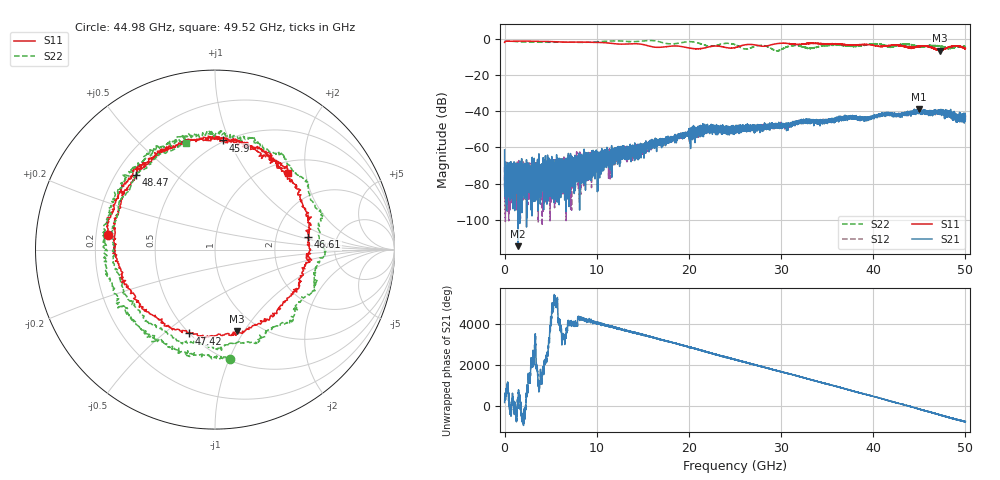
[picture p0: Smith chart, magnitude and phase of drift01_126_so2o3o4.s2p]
!Created with skrf (http://scikit-rf.org).
# Hz S RI R 50.0
!freq ReS11 ImS11 ReS21 ImS21 ReS12 ImS12 ReS22 ImS22
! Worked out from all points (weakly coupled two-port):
!   10001 points, 300 kHz to 50 GHz, reference 50 ohm
!   highest |S21| = -38.73 dB at 44.93 GHz (marker M1); lowest = -114.4 dB at 1.455 GHz (marker M2)
!   lowest |S11| = -6.6 dB at 47.2 GHz (marker M3), VSWR 2.77, Z = 39.9 - j46.4 ohm
!   |S11| at or under -10 dB: nowhere
!   |S22| runs from -6.8 to -1.0 dB; largest |S21 - S12| = 0.0037
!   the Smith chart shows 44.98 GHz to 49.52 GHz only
!   S11 on the Smith chart (normalised r, x): 44.98 GHz: 0.25, +0.06; 45.9 GHz: 0.49, +0.95; 46.61 GHz: 3.08, +0.59; 47.42 GHz: 0.50, -0.61; 48.47 GHz: 0.28, +0.37; 49.52 GHz: 1.22, +1.59
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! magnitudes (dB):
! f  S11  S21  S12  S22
! 300 kHz  -2.1  -61.4  -70.7  -1.3
! 255.3 MHz  -1.4  -75.5  -88.9  -1.4
! 1.455 GHz  -1.4  -114.4  -76.5  -1.7
! 5.205 GHz  -1.7  -68.4  -67.9  -2.1
! 8.335 GHz  -1.9  -63.9  -65.0  -2.1
! 16.67 GHz  -4.8  -57.2  -56.3  -1.6
! 21.52 GHz  -5.4  -50.9  -51.1  -3.3
! 25 GHz  -5.0  -49.9  -48.6  -3.4
! 28.09 GHz  -4.2  -49.2  -48.6  -3.8
! 29.53 GHz  -2.8  -47.9  -48.2  -6.7
! 31.27 GHz  -3.0  -47.2  -46.2  -4.0
! 33.34 GHz  -2.6  -45.1  -45.3  -5.5
! 41.67 GHz  -3.9  -41.4  -42.1  -4.4
! 44.93 GHz  -4.4  -38.7  -40.5  -4.4
! 44.98 GHz  -4.4  -41.5  -39.6  -4.2
! 45.9 GHz  -4.3  -40.8  -41.9  -4.2
! 46.61 GHz  -5.6  -40.3  -41.2  -3.7
! 47.2 GHz  -6.6  -41.7  -40.3  -4.3
! 47.42 GHz  -6.2  -40.2  -40.9  -4.5
! 48.47 GHz  -4.4  -42.5  -42.7  -5.3
! 49.52 GHz  -4.6  -42.3  -43.3  -4.2
! 50 GHz  -5.4  -44.5  -42.3  -4.2
